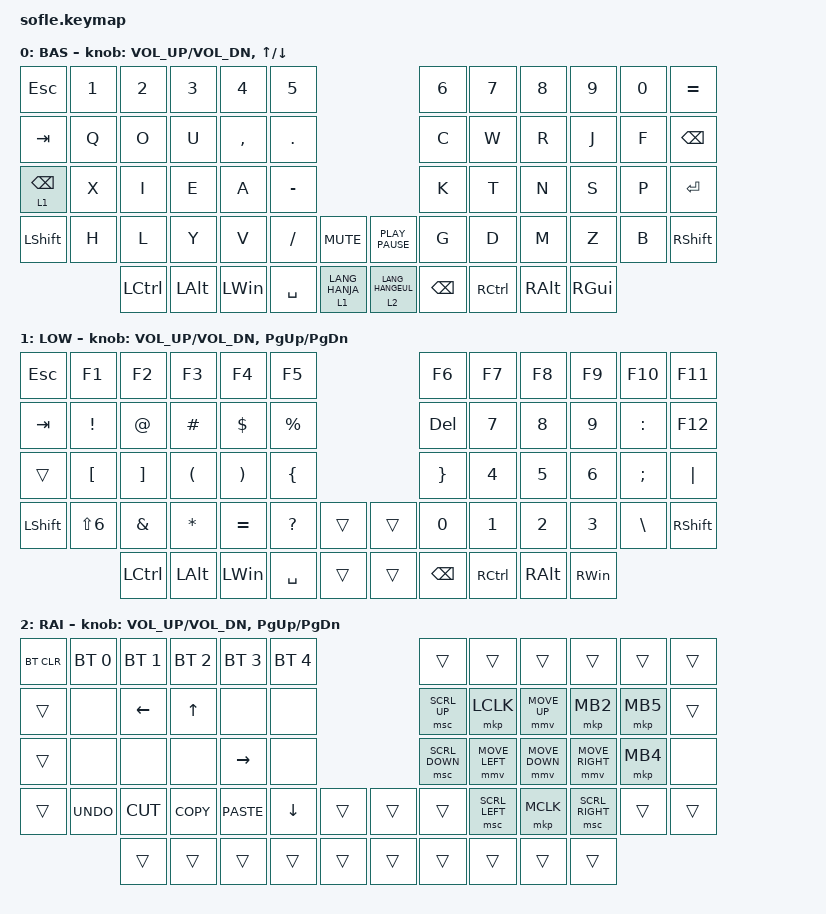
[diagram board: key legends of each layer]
/*
 * Copyright (c) 2020 The ZMK Contributors
 *
 * SPDX-License-Identifier: MIT
 */

#define ZMK_POINTING_DEFAULT_MOVE_VAL 6000  // default: 600
#define ZMK_POINTING_DEFAULT_SCRL_VAL 20    // default: 10

#include <behaviors.dtsi>
#include <dt-bindings/zmk/bt.h>
#include <dt-bindings/zmk/keys.h>
#include <dt-bindings/zmk/pointing.h>

/ {
    keymap {
        compatible = "zmk,keymap";

        default_layer {
            display-name = "BAS";

            // ------------------------------------------------------------------------------------------------------------
            // |  `    |  1  |  2  |  3   |  4   |  5   |                   |  6   |  7    |  8    |  9   |   0   |       |
            // |  ESC  |  Q  |  W  |  E   |  R   |  T   |                   |  Y   |  U    |  I    |  O   |   P   | BKSPC |
            // |  TAB  |  A  |  S  |  D   |  F   |  G   |                   |  H   |  J    |  K    |  L   |   ;   |   '   |
            // | SHIFT |  Z  |  X  |  C   |  V   |  B   |  MUTE  |  |       |  N   |  M    |  ,    |  .   |   /   | SHIFT |
            //               | GUI | ALT  | CTRL | LOWER|  ENTER |  | SPACE | RAISE| CTRL  | ALT   | GUI  |

            bindings = <
&kp ESCAPE       &kp N1  &kp N2            &kp N3    &kp N4        &kp N5                                              &kp N6         &kp N7     &kp N8    &kp N9    &kp N0  &kp EQUAL
&kp TAB          &kp Q   &kp O             &kp U     &kp COMMA     &kp PERIOD                                          &kp C          &kp W      &kp R     &kp J     &kp F   &kp BSPC
&lt 1 BACKSPACE  &kp X   &kp I             &kp E     &kp A         &kp MINUS                                           &kp K          &kp T      &kp N     &kp S     &kp P   &kp ENTER
&kp LSHFT        &kp H   &kp L             &kp Y     &kp V         &kp SLASH   &kp C_MUTE          &kp K_PLAY_PAUSE    &kp G          &kp D      &kp M     &kp Z     &kp B   &kp RSHFT
                         &kp LEFT_CONTROL  &kp LALT  &kp LEFT_WIN  &kp SPACE   &lt 1 LANG_HANJA    &lt 2 LANG_HANGEUL  &kp BACKSPACE  &kp RCTRL  &kp RALT  &kp RGUI
            >;

            sensor-bindings =
                <&inc_dec_kp C_VOL_UP C_VOL_DN>,
                <&inc_dec_kp UP_ARROW DOWN_ARROW>;
        };

        lower_layer {
            display-name = "LOW";

            // ------------------------------------------------------------------------------------------------------------
            // | `     |  F1 |  F2 |  F3  |  F4  |  F5  |                   |  F6  |  F7   |  F8   |  F9  |  F10  |  F11  |
            // | RAISE |   1 |   2 |   3  |   4  |   5  |                   |   6  |   7   |   8   |   9  |    0  |  F12  |
            // |       |  !  |  @  |  #   |  $   |  %   |                   |  ^   |  &    |  *    |  (   |   )   |   |   |
            // |       |  =  |  -  |  +   |  {   |  }   |        |  |       |  [   |  ]    |  ;    |  :   |   \   |       |
            //               |     |      |      |      |        |  |       |      |       |       |      |

            bindings = <
&kp ESC         &kp F1            &kp F2             &kp F3                &kp F4                 &kp F5                            &kp F6           &kp F7             &kp F8         &kp F9         &kp F10        &kp F11
&kp TAB         &kp EXCLAMATION   &kp AT_SIGN        &kp HASH              &kp DOLLAR             &kp PERCENT                       &kp DEL          &kp NUMBER_7       &kp N8         &kp N9         &kp COLON      &kp F12
&trans          &kp LEFT_BRACKET  &kp RIGHT_BRACKET  &kp LEFT_PARENTHESIS  &kp RIGHT_PARENTHESIS  &kp LEFT_BRACE                    &kp RIGHT_BRACE  &kp NUMBER_4       &kp N5         &kp NUMBER_6   &kp SEMICOLON  &kp PIPE
&kp LEFT_SHIFT  &kp LS(NUMBER_6)  &kp AMPERSAND      &kp ASTERISK          &kp EQUAL              &kp QUESTION    &trans    &trans  &kp N0           &kp NUMBER_1       &kp NUMBER_2   &kp NUMBER_3   &kp BSLH       &kp RIGHT_SHIFT
                                  &kp LCTRL          &kp LEFT_ALT          &kp LEFT_WIN           &kp SPACE       &trans    &trans  &kp BACKSPACE    &kp RIGHT_CONTROL  &kp RIGHT_ALT  &kp RIGHT_WIN
            >;

            sensor-bindings = <&inc_dec_kp C_VOL_UP C_VOL_DN &inc_dec_kp PG_UP PG_DN>;
        };

        raise_layer {
            display-name = "RAI";

            // ------------------------------------------------------------------------------------------------------------
            // |BTCLR| BT1  | BT2  |  BT3  |  BT4  |  BT5 |                |      |      |       |      |       |       |
            // |     | INS  | PSCR | GUI   |       |      |                | PGUP |      |       |      |       |       |
            // |     | ALT  | CTRL | SHIFT |       | CAPS |                |  <-  |   v  |   ^   |  ->  |  DEL  | BKSPC |
            // |     | UNDO | CUT  | COPY  | PASTE |      |      |  |      |      |      |       |      |       |       |
            //              |      |       |       |      |      |  |      |      |      |       |      |

            bindings = <
&bt BT_CLR  &bt BT_SEL 0  &bt BT_SEL 1    &bt BT_SEL 2  &bt BT_SEL 3     &bt BT_SEL 4                      &trans          &trans          &trans          &trans           &trans    &trans
&trans      &none         &kp LEFT_ARROW  &kp UP_ARROW  &none            &none                             &msc SCRL_UP    &mkp LCLK       &mmv MOVE_UP    &mkp MB2         &mkp MB5  &trans
&trans      &none         &none           &none         &kp RIGHT_ARROW  &none                             &msc SCRL_DOWN  &mmv MOVE_LEFT  &mmv MOVE_DOWN  &mmv MOVE_RIGHT  &mkp MB4  &none
&trans      &kp K_UNDO    &kp K_CUT       &kp K_COPY    &kp K_PASTE      &kp DOWN_ARROW  &trans    &trans  &trans          &msc SCRL_LEFT  &mkp MCLK       &msc SCRL_RIGHT  &trans    &trans
                          &trans          &trans        &trans           &trans          &trans    &trans  &trans          &trans          &trans          &trans
            >;

            sensor-bindings = <&inc_dec_kp C_VOL_UP C_VOL_DN &inc_dec_kp PG_UP PG_DN>;
        };
    };
};
